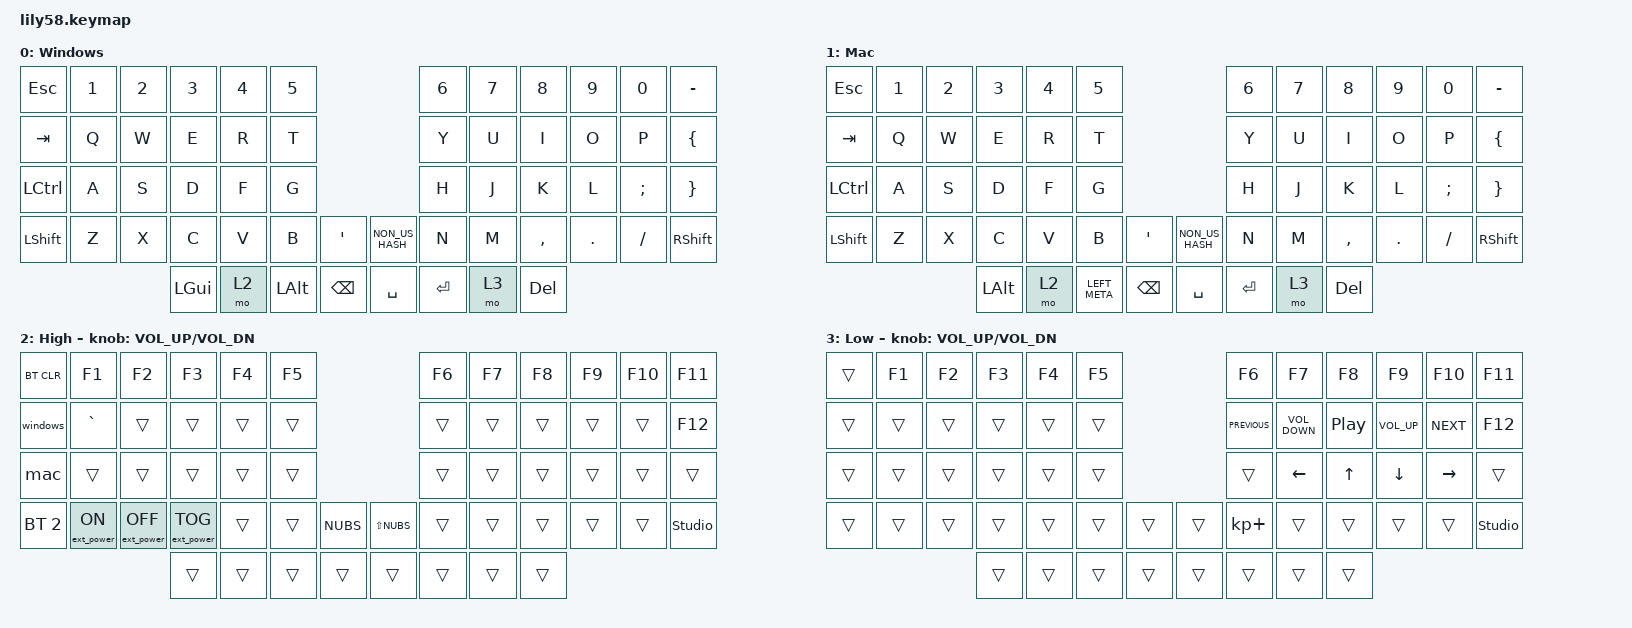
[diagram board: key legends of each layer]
/*
 * Copyright (c) 2020 The ZMK Contributors
 *
 * SPDX-License-Identifier: MIT
 */

#include <behaviors.dtsi>
#include <dt-bindings/zmk/bt.h>
#include <dt-bindings/zmk/ext_power.h>
#include <dt-bindings/zmk/keys.h>

/ {
    macros {
        windows: Windows {
            compatible = "zmk,behavior-macro";
            #binding-cells = <0>;
            bindings = <&to 0 &bt BT_SEL 0>;
            label = "WINDOWS";
        };

        mac: mac {
            compatible = "zmk,behavior-macro";
            #binding-cells = <0>;
            bindings = <&to 1 &bt BT_SEL 1>;
            label = "MAC";
        };
    };

    keymap {
        compatible = "zmk,keymap";

        Windows {
            bindings = <
&kp ESCAPE      &kp N1  &kp N2  &kp N3        &kp N4  &kp N5                                          &kp N6     &kp N7  &kp N8      &kp N9   &kp N0    &kp MINUS
&kp TAB         &kp Q   &kp W   &kp E         &kp R   &kp T                                           &kp Y      &kp U   &kp I       &kp O    &kp P     &kp LEFT_BRACE
&kp LCTRL       &kp A   &kp S   &kp D         &kp F   &kp G                                           &kp H      &kp J   &kp K       &kp L    &kp SEMI  &kp RIGHT_BRACE
&kp LEFT_SHIFT  &kp Z   &kp X   &kp C         &kp V   &kp B         &kp APOS         &kp NON_US_HASH  &kp N      &kp M   &kp COMMA   &kp DOT  &kp FSLH  &kp RIGHT_SHIFT
                                &kp LEFT_GUI  &mo 2   &kp LEFT_ALT  &kp BACKSPACE    &kp SPACE        &kp ENTER  &mo 3   &kp DELETE
            >;

            label = "Windows";
        };

        Mac {
            // ------------------------------------------------------------------------------------------------------------
            // |  ESC  |  1  |  2  |  3   |  4   |  5   |                   |  6   |  7    |  8    |  9   |   0   |   `   |
            // |  TAB  |  Q  |  W  |  E   |  R   |  T   |                   |  Y   |  U    |  I    |  O   |   P   |   -   |
            // |  CTRL |  A  |  S  |  D   |  F   |  G   |                   |  H   |  J    |  K    |  L   |   ;   |   '   |
            // | SHIFT |  Z  |  X  |  C   |  V   |  B   |   "["  |  |  "]"  |  N   |  M    |  ,    |  .   |   /   | SHIFT |
            //                     | ALT  | GUI  | LOWER|  SPACE |  | ENTER | RAISE| BSPC  | GUI   |

            bindings = <
&kp ESCAPE      &kp N1  &kp N2  &kp N3        &kp N4  &kp N5                                           &kp N6     &kp N7  &kp N8      &kp N9   &kp N0    &kp MINUS
&kp TAB         &kp Q   &kp W   &kp E         &kp R   &kp T                                            &kp Y      &kp U   &kp I       &kp O    &kp P     &kp LEFT_BRACE
&kp LCTRL       &kp A   &kp S   &kp D         &kp F   &kp G                                            &kp H      &kp J   &kp K       &kp L    &kp SEMI  &kp RIGHT_BRACE
&kp LEFT_SHIFT  &kp Z   &kp X   &kp C         &kp V   &kp B          &kp APOS         &kp NON_US_HASH  &kp N      &kp M   &kp COMMA   &kp DOT  &kp FSLH  &kp RIGHT_SHIFT
                                &kp LEFT_ALT  &mo 2   &kp LEFT_META  &kp BACKSPACE    &kp SPACE        &kp ENTER  &mo 3   &kp DELETE
            >;

            label = "Mac";
        };

        High {
            // ------------------------------------------------------------------------------------------------------------
            // | BTCLR | BT1 | BT2 |  BT3 |  BT4 |  BT5 |                   |      |       |       |      |       |       |
            // |  F1   |  F2 |  F3 |  F4  |  F5  |  F6  |                   |  F7  |  F8   |  F9   |  F10 |  F11  |  F12  |
            // |   `   |  !  |  @  |  #   |  $   |  %   |                   |  ^   |  &    |  *    |  (   |   )   |   ~   |
            // |       |     |     |      |      |      |        |  |       |      |  _    |  +    |  {   |   }   |  "|"  |
            //                     |      |      |      |        |  |       |      |       |       |

            bindings = <
&bt BT_CLR    &kp F1            &kp F2             &kp F3             &kp F4  &kp F5                            &kp F6  &kp F7  &kp F8  &kp F9  &kp F10  &kp F11
&windows      &kp GRAVE         &trans             &trans             &trans  &trans                            &trans  &trans  &trans  &trans  &trans   &kp F12
&mac          &trans            &trans             &trans             &trans  &trans                            &trans  &trans  &trans  &trans  &trans   &trans
&bt BT_SEL 2  &ext_power EP_ON  &ext_power EP_OFF  &ext_power EP_TOG  &trans  &trans  &kp NUBS    &kp LS(NUBS)  &trans  &trans  &trans  &trans  &trans   &studio_unlock
                                                   &trans             &trans  &trans  &trans      &trans        &trans  &trans  &trans
            >;

            sensor-bindings = <&inc_dec_kp C_VOL_UP C_VOL_DN>;
            label = "High";
        };

        Low {
            // ------------------------------------------------------------------------------------------------------------
            // |       |     |     |      |      |      |                   |      |       |       |      |       |       |
            // |   `   |  1  |  2  |  3   |  4   |  5   |                   |  6   |   7   |   8   |  9   |   0   |       |
            // |   F1  |  F2 |  F3 |  F4  |  F5  |  F6  |                   |      |   <-  |   v   |  ^   |  ->   |       |
            // |   F7  |  F8 |  F9 |  F10 |  F11 |  F12 |        |  |       |  +   |   -   |   =   |  [   |   ]   |   \   |
            //                     |      |      |      |        |  |       |      |       |       |

            bindings = <
&trans  &kp F1  &kp F2  &kp F3  &kp F4  &kp F5                    &kp F6          &kp F7             &kp F8            &kp F9           &kp F10          &kp F11
&trans  &trans  &trans  &trans  &trans  &trans                    &kp C_PREVIOUS  &kp C_VOLUME_DOWN  &kp C_PLAY_PAUSE  &kp C_VOLUME_UP  &kp C_NEXT       &kp F12
&trans  &trans  &trans  &trans  &trans  &trans                    &trans          &kp LEFT_ARROW     &kp UP_ARROW      &kp DOWN_ARROW   &kp RIGHT_ARROW  &trans
&trans  &trans  &trans  &trans  &trans  &trans  &trans    &trans  &kp KP_PLUS     &trans             &trans            &trans           &trans           &studio_unlock
                        &trans  &trans  &trans  &trans    &trans  &trans          &trans             &trans
            >;

            sensor-bindings = <&inc_dec_kp C_VOL_UP C_VOL_DN>;
            label = "Low";
        };
    };
};
